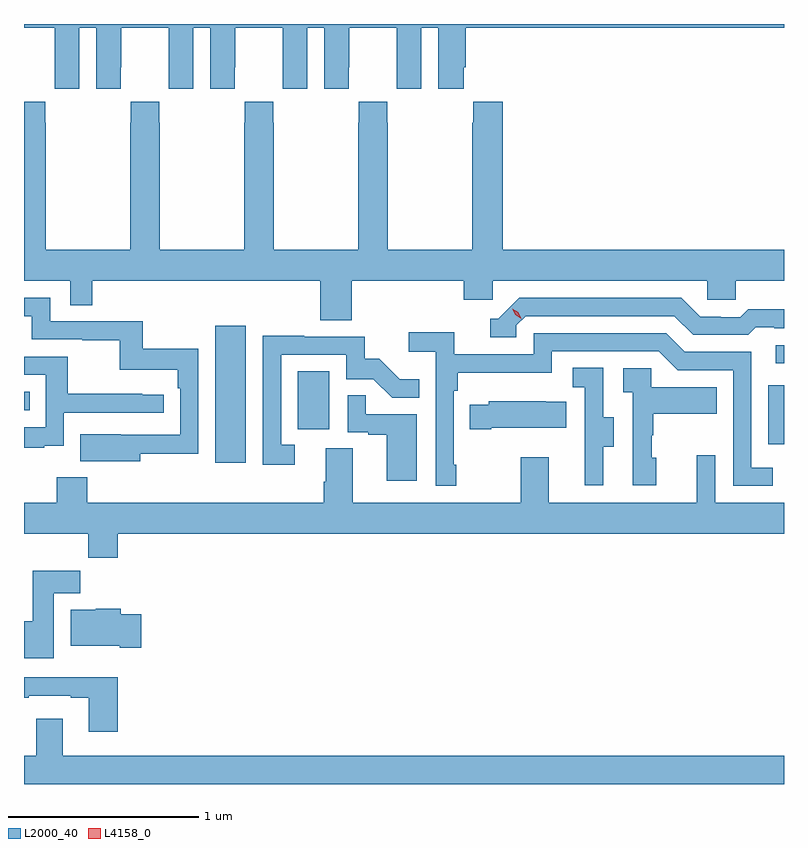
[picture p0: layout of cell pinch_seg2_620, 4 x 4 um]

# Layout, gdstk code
import gdstk
lib = gdstk.Library(unit=1e-6, precision=1e-09)
def R(c, l, rs):  # rectangles x0, y0, x1, y1
    for r in rs: c.add(gdstk.rectangle(r[:2], r[2:], *l))
def P(c, l, *ps):  # polygons
    for p in ps: c.add(gdstk.Polygon(p, *l))
L2000_40 = (2000, 40)
L4158_0 = (4158, 0)

pinch_seg2_620 = lib.new_cell('pinch_seg2_620')
R(pinch_seg2_620, L2000_40, [(1024.025,609.384,1024.186,610.105), (1026.936,609.48,1027.018,609.79), (1024.46,609.558,1024.624,609.865), (1023.018,609.66,1023.047,609.756), (1026.975,609.906,1027.018,610.002)])
P(pinch_seg2_620, L2000_40, [(1023.018,611.672),(1023.179,611.672),(1023.179,611.464),(1023.18,611.464),(1023.18,611.352),(1023.31,611.352),(1023.31,611.672),(1023.398,611.672),(1023.398,611.352),(1023.528,611.352),(1023.528,611.464),(1023.529,611.464),(1023.529,611.672),(1023.779,611.672),(1023.779,611.464),(1023.78,611.464),(1023.78,611.352),(1023.91,611.352),(1023.91,611.672),(1023.998,611.672),(1023.998,611.352),(1024.128,611.352),(1024.128,611.464),(1024.129,611.464),(1024.129,611.672),(1024.379,611.672),(1024.379,611.464),(1024.38,611.464),(1024.38,611.352),(1024.51,611.352),(1024.51,611.672),(1024.598,611.672),(1024.598,611.352),(1024.728,611.352),(1024.728,611.464),(1024.729,611.464),(1024.729,611.672),(1024.979,611.672),(1024.979,611.464),(1024.98,611.464),(1024.98,611.352),(1025.11,611.352),(1025.11,611.672),(1025.198,611.672),(1025.198,611.352),(1025.332,611.352),(1025.332,611.464),(1025.342,611.464),(1025.342,611.672),(1027.018,611.672),(1027.018,611.692),(1023.018,611.692)],
  [(1024.329,611.171),(1024.329,611.284),(1024.179,611.284),(1024.179,611.171),(1024.177,611.171),(1024.177,610.504),(1023.732,610.504),(1023.732,611.171),(1023.729,611.171),(1023.729,611.284),(1023.579,611.284),(1023.579,611.171),(1023.577,611.171),(1023.577,610.504),(1023.132,610.504),(1023.132,611.171),(1023.129,611.171),(1023.129,611.284),(1023.018,611.284),(1023.018,610.34),(1023.261,610.34),(1023.261,610.213),(1023.377,610.213),(1023.377,610.34),(1024.577,610.34),(1024.577,610.132),(1024.742,610.132),(1024.742,610.34),(1025.333,610.34),(1025.333,610.242),(1025.484,610.242),(1025.484,610.34),(1026.615,610.34),(1026.615,610.242),(1026.765,610.242),(1026.765,610.34),(1027.018,610.34),(1027.018,610.504),(1025.537,610.504),(1025.537,611.284),(1025.383,611.284),(1025.383,611.171),(1025.377,611.171),(1025.377,610.504),(1024.932,610.504),(1024.932,611.171),(1024.929,611.171),(1024.929,611.284),(1024.779,611.284),(1024.779,611.171),(1024.777,611.171),(1024.777,610.504),(1024.332,610.504),(1024.332,611.171)],
  [(1025.61,610.107),(1025.658,610.155),(1026.441,610.155),(1026.54,610.056),(1026.829,610.056),(1026.868,610.095),(1026.967,610.095),(1026.967,610.092),(1027.018,610.092),(1027.018,610.192),(1026.829,610.192),(1026.787,610.149),(1026.684,610.149),(1026.684,610.152),(1026.577,610.152),(1026.478,610.251),(1025.625,610.251),(1025.514,610.14),(1025.471,610.14),(1025.471,610.044),(1025.61,610.044)],
  [(1023.631,609.43),(1023.936,609.43),(1023.936,609.982),(1023.643,609.982),(1023.643,610.128),(1023.156,610.128),(1023.156,610.251),(1023.018,610.251),(1023.018,610.155),(1023.06,610.155),(1023.06,610.032),(1023.325,610.032),(1023.325,610.027),(1023.522,610.027),(1023.522,609.872),(1023.827,609.872),(1023.827,609.776),(1023.84,609.776),(1023.84,609.531),(1023.527,609.531),(1023.527,609.532),(1023.313,609.532),(1023.313,609.392),(1023.631,609.392)],
  [(1025.293,609.373),(1025.28,609.373),(1025.28,609.761),(1025.3,609.761),(1025.3,609.857),(1025.796,609.857),(1025.796,609.969),(1026.36,609.969),(1026.459,609.87),(1026.75,609.87),(1026.75,609.261),(1026.959,609.261),(1026.959,609.357),(1026.846,609.357),(1026.846,609.966),(1026.496,609.966),(1026.397,610.065),(1025.7,610.065),(1025.7,609.954),(1025.282,609.954),(1025.282,610.07),(1025.043,610.07),(1025.043,609.968),(1025.184,609.968),(1025.184,609.261),(1025.293,609.261)],
  [(1024.444,609.477),(1024.371,609.477),(1024.371,609.951),(1024.713,609.951),(1024.713,609.822),(1024.857,609.822),(1024.955,609.724),(1025.099,609.724),(1025.099,609.823),(1024.995,609.823),(1024.888,609.93),(1024.812,609.93),(1024.812,610.047),(1024.493,610.047),(1024.493,610.052),(1024.275,610.052),(1024.275,609.372),(1024.444,609.372)],
  [(1023.125,609.473),(1023.228,609.473),(1023.228,609.645),(1023.754,609.645),(1023.754,609.741),(1023.641,609.741),(1023.641,609.746),(1023.248,609.746),(1023.248,609.942),(1023.018,609.942),(1023.018,609.846),(1023.132,609.846),(1023.132,609.57),(1023.018,609.57),(1023.018,609.462),(1023.125,609.462)],
  [(1026.067,609.466),(1026.121,609.466),(1026.121,609.621),(1026.066,609.621),(1026.066,609.884),(1025.907,609.884),(1025.907,609.781),(1025.97,609.781),(1025.97,609.477),(1025.969,609.477),(1025.969,609.264),(1026.067,609.264)],
  [(1026.346,609.408),(1026.321,609.408),(1026.321,609.527),(1026.331,609.527),(1026.331,609.641),(1026.665,609.641),(1026.665,609.781),(1026.318,609.781),(1026.318,609.879),(1026.171,609.879),(1026.171,609.755),(1026.222,609.755),(1026.222,609.264),(1026.346,609.264)],
  [(1025.086,609.639),(1024.817,609.639),(1024.817,609.737),(1024.722,609.737),(1024.722,609.543),(1024.829,609.543),(1024.829,609.531),(1024.928,609.531),(1024.928,609.288),(1025.086,609.288)],
  [(1025.476,609.566),(1025.873,609.566),(1025.873,609.703),(1025.765,609.703),(1025.765,609.706),(1025.463,609.706),(1025.463,609.688),(1025.365,609.688),(1025.365,609.559),(1025.476,609.559)],
  [(1023.512,609.008),(1027.018,609.008),(1027.018,609.172),(1026.657,609.172),(1026.657,609.421),(1026.56,609.421),(1026.56,609.172),(1025.779,609.172),(1025.779,609.412),(1025.632,609.412),(1025.632,609.172),(1024.747,609.172),(1024.747,609.458),(1024.607,609.458),(1024.607,609.284),(1024.595,609.284),(1024.595,609.172),(1023.35,609.172),(1023.35,609.307),(1023.19,609.307),(1023.19,609.172),(1023.018,609.172),(1023.018,609.008),(1023.355,609.008),(1023.355,608.884),(1023.512,608.884)],
  [(1023.175,608.696),(1023.314,608.696),(1023.314,608.814),(1023.065,608.814),(1023.065,608.548),(1023.018,608.548),(1023.018,608.355),(1023.175,608.355)],
  [(1023.634,608.586),(1023.527,608.586),(1023.527,608.614),(1023.396,608.614),(1023.396,608.608),(1023.263,608.608),(1023.263,608.42),(1023.521,608.42),(1023.521,608.408),(1023.634,608.408)],
  [(1023.512,608.254),(1023.271,608.254),(1023.271,608.253),(1023.018,608.253),(1023.018,608.145),(1023.043,608.145),(1023.043,608.157),(1023.263,608.157),(1023.263,608.145),(1023.359,608.145),(1023.359,607.968),(1023.512,607.968)],
  [(1027.018,607.84),(1023.223,607.84),(1023.223,608.035),(1023.083,608.035),(1023.083,607.84),(1023.018,607.84),(1023.018,607.692),(1027.018,607.692)])
P(pinch_seg2_620, L4158_0, [(1025.634,610.142),(1025.603,610.161),(1025.587,610.193),(1025.587,610.193),(1025.587,610.193),(1025.618,610.174),(1025.634,610.142),(1025.634,610.142)])

lib.write_gds('pinch_seg2_620.gds')
